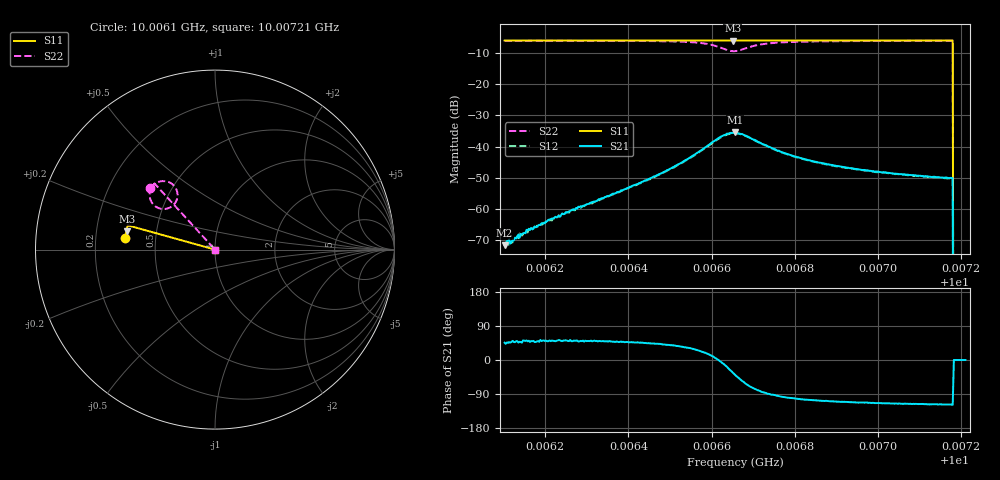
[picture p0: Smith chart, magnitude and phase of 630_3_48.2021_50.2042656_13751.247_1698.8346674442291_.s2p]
#  HZ  S  RI  R  50.00
! Rohde & Schwarz Vector Network Analyzer
! Rohde-Schwarz,ZNB20-2Port,1311601062101988,3.16
! Created: UTC 3/20/2024, 12:04:17 PM
! freq[Hz]  re:S11  im:S11  re:S21  im:S21  re:S12  im:S12  re:S22  im:S22
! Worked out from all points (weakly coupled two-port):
!   401 points, 10.0061 GHz to 10.00721 GHz, reference 50 ohm
!   highest |S21| = -35.49 dB at 10.00666 GHz (marker M1); lowest = -71.7 dB at 10.0061 GHz (marker M2)
!   lowest |S11| = -6.0 dB at 10.00665 GHz (marker M3), VSWR 3.02, Z = 16.7 + j4.55 ohm
!   |S11| at or under -10 dB: 10.00718 GHz to end of sweep
!   |S22| runs from - to -6.0 dB; largest |S21 - S12| = 0.0012
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1.0006102e10  -0.4989 0.0669  0.000182 0.000186  0.000166 0.00019  -0.3626 0.3426
1.0006116e10  -0.4988 0.0679  0.000193 0.000198  0.000185 0.000216  -0.3618 0.3436
1.0006135e10  -0.4986 0.0692  0.000268 0.000278  0.00021 0.000264  -0.3607 0.345
1.000616e10  -0.4983 0.0707  0.000299 0.000366  0.000283 0.000387  -0.3588 0.3467
1.0006166e10  -0.4984 0.0712  0.000318 0.000378  0.00028 0.000377  -0.3584 0.347
1.0006213e10  -0.4979 0.0741  0.00044 0.000521  0.000414 0.000522  -0.3549 0.3506
1.0006288e10  -0.4973 0.079  0.000703 0.000828  0.000644 0.000861  -0.3485 0.3567
1.0006474e10  -0.4954 0.0913  0.00267 0.00243  0.00248 0.00248  -0.3184 0.3758
1.0006529e10  -0.4948 0.0949  0.00457 0.00318  0.0043 0.00337  -0.2962 0.3816
1.000659e10  -0.4935 0.0989  0.00981 0.00298  0.00937 0.00336  -0.2452 0.37
1.0006623e10  -0.4927 0.1008  0.0145 -0.00136  0.0141 -0.000472  -0.2106 0.3217
1.0006651e10  -0.4921 0.1017  0.0139 -0.00905  0.0143 -0.00807  -0.2285 0.2516
1.0006656e10  -0.4923 0.1019  0.0131 -0.0105  0.0133 -0.00934  -0.2404 0.241
1.0006679e10  -0.4925 0.1029  0.00781 -0.0131  0.00848 -0.0125  -0.2949 0.2264
1.000672e10  -0.4926 0.1056  0.00115 -0.0111  0.00191 -0.011  -0.3514 0.2613
1.000677e10  -0.4923 0.1089  -0.00102 -0.00803  -0.000556 -0.00796  -0.3638 0.2985
1.0006842e10  -0.4917 0.1138  -0.00159 -0.00563  -0.00131 -0.00561  -0.3609 0.3261
1.0006925e10  -0.4905 0.1194  -0.00161 -0.00431  -0.00142 -0.00431  -0.3543 0.3429
1.0007028e10  -0.4891 0.1258  -0.00155 -0.00344  -0.00139 -0.00342  -0.3468 0.3554
1.0007175e10  -0.487 0.135  -0.00146 -0.00278  -0.00129 -0.00281  -0.3373 0.368
1.0007189e10  0 0  0 0  0 0  0 0
1.0007211e10  0 0  0 0  0 0  0 0
